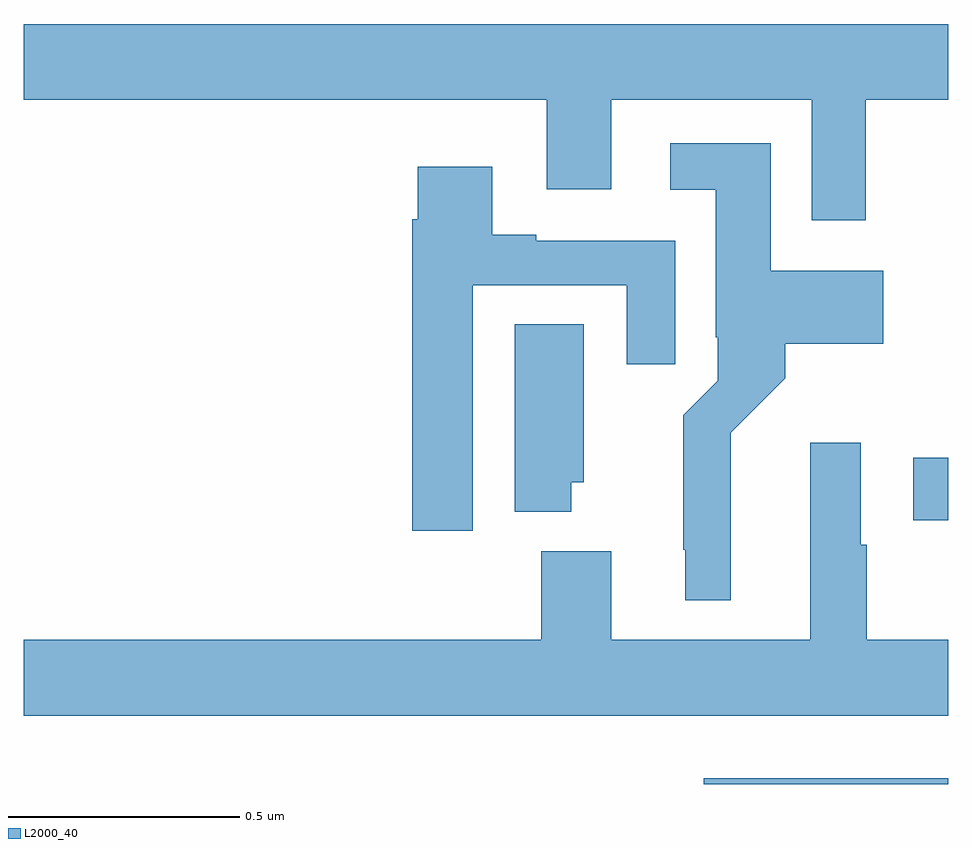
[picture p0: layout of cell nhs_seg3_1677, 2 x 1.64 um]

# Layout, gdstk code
import gdstk
lib = gdstk.Library(unit=1e-6, precision=1e-09)
def R(c, l, rs):  # rectangles x0, y0, x1, y1
    for r in rs: c.add(gdstk.rectangle(r[:2], r[2:], *l))
def P(c, l, *ps):  # polygons
    for p in ps: c.add(gdstk.Polygon(p, *l))
L2000_40 = (2000, 40)

nhs_seg3_1677 = lib.new_cell('nhs_seg3_1677')
R(nhs_seg3_1677, L2000_40, [(132.471,735.4,133,735.412), (132.924,735.971,133,736.106)])
P(nhs_seg3_1677, L2000_40, [(132.821,736.88),(133,736.88),(133,737.044),(131,737.044),(131,736.88),(132.131,736.88),(132.131,736.686),(132.271,736.686),(132.271,736.88),(132.705,736.88),(132.705,736.62),(132.821,736.62)],
  [(132.529,736.16),(132.647,736.278),(132.647,736.352),(132.859,736.352),(132.859,736.51),(132.616,736.51),(132.616,736.786),(132.399,736.786),(132.399,736.685),(132.497,736.685),(132.497,736.366),(132.501,736.366),(132.501,736.272),(132.427,736.198),(132.427,735.907),(132.431,735.907),(132.431,735.797),(132.529,735.797)],
  [(131.971,736.479),(132.305,736.479),(132.305,736.308),(132.409,736.308),(132.409,736.575),(132.109,736.575),(132.109,736.588),(132.013,736.588),(132.013,736.735),(131.852,736.735),(131.852,736.622),(131.84,736.622),(131.84,735.948),(131.971,735.948)],
  [(132.184,736.053),(132.211,736.053),(132.211,736.394),(132.062,736.394),(132.062,735.989),(132.184,735.989)],
  [(133,735.712),(132.824,735.712),(132.824,735.917),(132.811,735.917),(132.811,736.138),(132.701,736.138),(132.701,735.712),(132.271,735.712),(132.271,735.904),(132.119,735.904),(132.119,735.712),(131,735.712),(131,735.548),(133,735.548)])

lib.write_gds('nhs_seg3_1677.gds')
